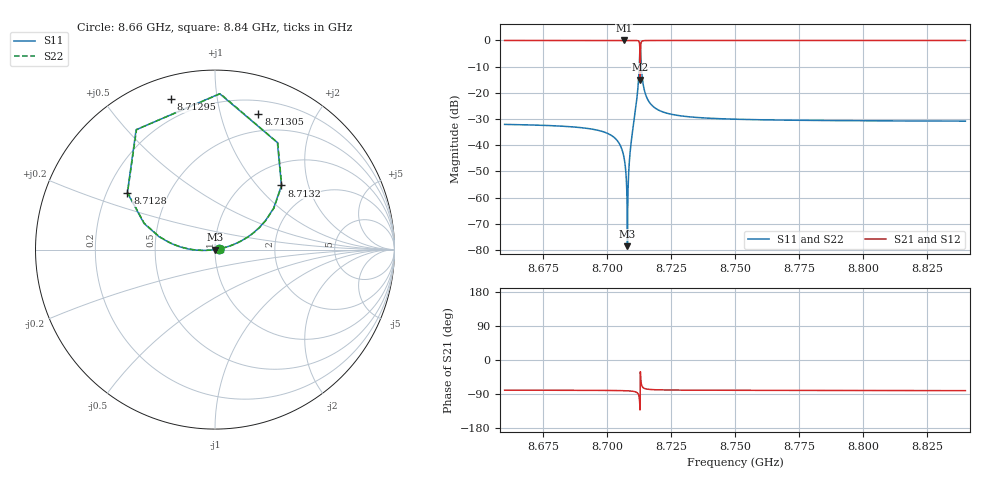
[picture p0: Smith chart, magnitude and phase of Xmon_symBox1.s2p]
! Sonnet Data File
! From: emgraph Version : 16.52
! From Emgraph Data: 171117_Xmon_fullysym
! Data File Written: 11/20/2017 09:06:07
!< HDATE 11/17/2017 17:36:39
!< MDATE 11/17/2017 17:37:32
!< PARAMS
!< Lj = 11.0
!< Gap = 6.0
!< Pwid = 2000.0
!< Width = 10.0
!< END PARAMS
# GHZ S MA R 50.90000
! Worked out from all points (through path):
!   3601 points, 8.66 GHz to 8.84 GHz, reference 50.9 ohm
!   highest |S21| = 0.00 dB at 8.70665 GHz (marker M1); lowest = -15.0 dB at 8.71295 GHz (marker M2)
!   lowest |S11| = -78.5 dB at 8.708 GHz (marker M3), VSWR 1.00, Z = 50.9 + j0.00347 ohm
!   |S11| at or under -10 dB: start of sweep to 8.71259 GHz; 8.71342 GHz to end of sweep
!   |S22| runs from -74.4 to -1.2 dB; largest |S21 - S12| = 1.4e-11
!   S11 on the Smith chart (normalised r, x): 8.66 GHz: 1.05, +0.01; 8.7128 GHz: 0.29, +0.27; 8.71295 GHz: 0.10, +0.74; 8.71305 GHz: 0.33, +1.32; 8.7132 GHz: 1.40, +1.36; 8.84 GHz: 1.06, +0.01
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8.66  0.02501 10.5  0.9997 -79.5  0.9997 -79.5  0.02501 10.6
!< P1 F=8.66 Eeff=(6.4468543 -2.9785e-5) Z0=(51.7979628 1.19074e-4) R=0.0 C=0.0
!< P2 F=8.66 Eeff=(6.4468543 -2.9785e-5) Z0=(51.7979628 1.19074e-4) R=0.0 C=0.0
8.69  0.02164 10.1  0.9998 -79.9  0.9998 -79.9  0.02164 10.1
8.70235  0.01466 9.5  0.9999 -80.4  0.9999 -80.4  0.01466 9.7
8.70515  0.01001 9.3  0.9999 -80.7  0.9999 -80.7  0.01001 9.7
8.70665  0.005823 9.2  0.9999 -81.0  0.9999 -81.0  0.005825 10.1
8.70735  0.003104 9.5  0.9999 -81.2  0.9999 -81.2  0.003107 11.2
8.708  0.0001186 163.3  0.9999 -81.3  0.9999 -81.3  0.0001915 132.5
8.70855  0.003562 -172.7  0.9999 -81.6  0.9999 -81.6  0.003566 -174.7
8.70945  0.01154 -172.7  0.9997 -82.0  0.9997 -82.0  0.01154 -173.4
8.7117  0.08056 -177.0  0.9952 -86.0  0.9952 -86.0  0.08057 -177.3
8.7121  0.1293 179.9  0.9883 -88.8  0.9883 -88.8  0.1293 179.6
8.7128  0.5821 147.0  0.7512 -116.7  0.7512 -116.7  0.5821 146.8
8.71295  0.8736 106.4  0.1778 -122.4  0.1778 -122.4  0.8736 106.2
8.71305  0.7925 72.2  0.4578 -30.8  0.4578 -30.8  0.7926 72.0
8.7132  0.5149 44.0  0.8187 -50.5  0.8187 -50.5  0.5149 43.8
8.71395  0.1659 19.1  0.9835 -71.8  0.9835 -71.8  0.1659 19.0
8.7155  0.08197 13.6  0.9962 -76.7  0.9962 -76.7  0.08197 13.5
8.72  0.04727 11.4  0.9988 -78.7  0.9988 -78.7  0.04727 11.3
8.75  0.03142 10.1  0.9995 -79.9  0.9995 -79.9  0.03142 10.1
8.78  0.02979 9.7  0.9996 -80.3  0.9996 -80.3  0.02979 9.7
8.81  0.02918 9.4  0.9996 -80.6  0.9996 -80.6  0.02918 9.4
8.84  0.02887 9.1  0.9996 -80.9  0.9996 -80.9  0.02887 9.1
